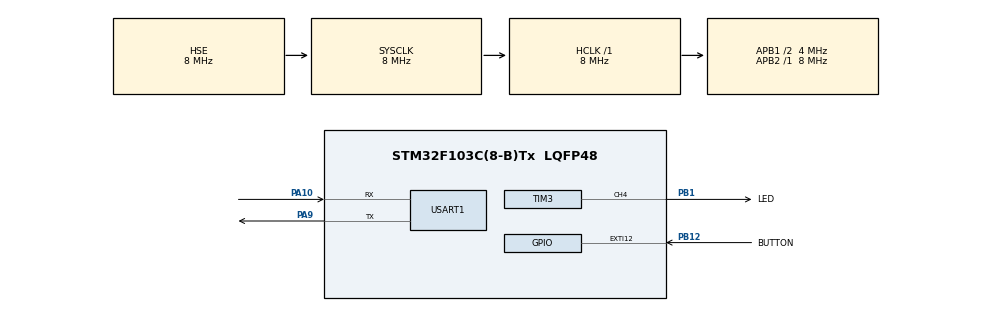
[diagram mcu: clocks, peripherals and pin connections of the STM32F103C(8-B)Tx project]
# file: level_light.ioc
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Mcu.Family=STM32F1
Mcu.Name=STM32F103C(8-B)Tx
Mcu.Package=LQFP48
NVIC.EXTI15_10_IRQn=true\:0\:0\:false\:false\:true\:true\:true\:true
NVIC.PriorityGroup=NVIC_PRIORITYGROUP_4
NVIC.RCC_IRQn=true\:0\:0\:false\:false\:true\:true\:false\:true
NVIC.TIM3_IRQn=true\:0\:0\:false\:false\:true\:true\:true\:true
NVIC.USART1_IRQn=true\:0\:0\:false\:false\:true\:true\:true\:true
PA0-WKUP.Mode=SYS_WakeUp0
PA0-WKUP.Signal=SYS_WKUP
PA10.Mode=Asynchronous
PA10.Signal=USART1_RX
PA13.Mode=Serial_Wire
PA13.Signal=SYS_JTMS-SWDIO
PA14.Mode=Serial_Wire
PA14.Signal=SYS_JTCK-SWCLK
PA9.Mode=Asynchronous
PA9.Signal=USART1_TX
PB1.GPIO_Label=LED
PB1.Signal=S_TIM3_CH4
PB12.GPIO_Label=BUTTON
PB12.GPIO_ModeDefaultEXTI=GPIO_MODE_IT_RISING
PB12.GPIO_PuPd=GPIO_PULLUP
PB12.Signal=GPXTI12
PD0-OSC_IN.Mode=HSE-External-Oscillator
PD0-OSC_IN.Signal=RCC_OSC_IN
PD1-OSC_OUT.Mode=HSE-External-Oscillator
PD1-OSC_OUT.Signal=RCC_OSC_OUT
ProjectManager.HeapSize=0x200
ProjectManager.StackSize=0x400
ProjectManager.TargetToolchain=STM32CubeIDE
RCC.AHBFreq_Value=8000000
RCC.APB1CLKDivider=RCC_HCLK_DIV2
RCC.APB1Freq_Value=4000000
RCC.APB1TimFreq_Value=8000000
RCC.APB2Freq_Value=8000000
RCC.APB2TimFreq_Value=8000000
RCC.HCLKFreq_Value=8000000
RCC.PLLSourceVirtual=RCC_PLLSOURCE_HSE
RCC.SYSCLKFreq_VALUE=8000000
RCC.SYSCLKSource=RCC_SYSCLKSOURCE_HSE
RCC.USBFreq_Value=16000000
SH.S_TIM3_CH4.0=TIM3_CH4,PWM Generation4 CH4
TIM3.Channel-PWM\ Generation4\ CH4=TIM_CHANNEL_4
TIM3.OCPolarity_4=TIM_OCPOLARITY_LOW
TIM3.Period=255
TIM3.Prescaler=8
TIM3.Pulse-PWM\ Generation4\ CH4=128
TIM3.TIM_MasterOutputTrigger=TIM_TRGO_UPDATE
USART1.VirtualMode=VM_ASYNC
board=custom

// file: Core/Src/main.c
/* USER CODE BEGIN Header */
/**
  ******************************************************************************
  * @file           : main.c
  * @brief          : Main program body
  ******************************************************************************
  * @attention
  *
  * Copyright (c) 2023 STMicroelectronics.
  * All rights reserved.
  *
  * This software is licensed under terms that can be found in the LICENSE file
  * in the root directory of this software component.
  * If no LICENSE file comes with this software, it is provided AS-IS.
  *
  ******************************************************************************
  */
/* USER CODE END Header */
#include "main.h"
#include "stdio.h"
/* USER CODE BEGIN Includes */

UART_HandleTypeDef huart1;
#ifdef __GNUC__
#define PUTCHAR_PROTOTYPE int __io_putchar(int ch)
#else
#define PUTCHAR_PROTOTYPE int fputc(int ch, FILE *f)
#endif

PUTCHAR_PROTOTYPE
{
  HAL_UART_Transmit(&huart1, (uint8_t *)&ch, 1, HAL_MAX_DELAY);
  return ch;
}

#define MAX_BRIGHTNESS_VAL (int8_t) 100
#define NUMBER_OF_MODES (int8_t) 4    //Enter value of brightness steps
#define STEP (int8_t) (MAX_BRIGHTNESS_VAL/NUMBER_OF_MODES)

/* USER CODE END Includes */

TIM_HandleTypeDef htim3;

UART_HandleTypeDef huart1;

void SystemClock_Config(void);
static void MX_GPIO_Init(void);
static void MX_TIM3_Init(void);
static void MX_USART1_UART_Init(void);
void  CH_LIGHT(uint16_t percent);

  /* USER CODE BEGIN 1 */
uint16_t TICK_COUNTER_DELAY=0;
uint16_t TICK_COUNTER_OFF=0;
void SysTick_Handler(void){

	if(TICK_COUNTER_DELAY>0){
		TICK_COUNTER_DELAY--;
	}
	else if(TICK_COUNTER_OFF>0){
		TICK_COUNTER_OFF--;
		}

}
void TIME_DELAY(uint16_t Time_value){

	TICK_COUNTER_DELAY=Time_value;
	while(TICK_COUNTER_DELAY){}

}

int main(void)
{

  /* USER CODE END 1 */

  /* MCU Configuration--------------------------------------------------------*/
HAL_IncTick();
  /* Reset of all peripherals, Initializes the Flash interface and the Systick. */
  HAL_Init();
SysTick_Config(SystemCoreClock/1000);

  /* Configure the system clock */
  SystemClock_Config();

  /* Initialize all configured peripherals */
  MX_GPIO_Init();
  MX_TIM3_Init();
  MX_USART1_UART_Init();

  /* Infinite loop */
  /* USER CODE BEGIN WHILE */

uint8_t LEVEL_BRIGHTNESS=0;

CH_LIGHT( LEVEL_BRIGHTNESS);
while (1)
  {

while(HAL_GPIO_ReadPin(BUTTON_GPIO_Port, BUTTON_Pin)==1){
	 if((TICK_COUNTER_OFF==0)&&( LEVEL_BRIGHTNESS!=0)){

		 LEVEL_BRIGHTNESS=0;

		 CH_LIGHT( LEVEL_BRIGHTNESS);
		 printf("Time has run out\n");
}
}

TIME_DELAY(300);

		printf("The button has been pressed\n");
		TICK_COUNTER_OFF=10000;

		 LEVEL_BRIGHTNESS+=STEP;

		if ( LEVEL_BRIGHTNESS>(MAX_BRIGHTNESS_VAL)){
			 LEVEL_BRIGHTNESS=0;

	}
CH_LIGHT( LEVEL_BRIGHTNESS);

  }

}

    /* USER CODE END WHILE */

void SystemClock_Config(void)
{
  RCC_OscInitTypeDef RCC_OscInitStruct = {0};
  RCC_ClkInitTypeDef RCC_ClkInitStruct = {0};

  /** Initializes the RCC Oscillators according to the specified parameters
  * in the RCC_OscInitTypeDef structure.
  */
  RCC_OscInitStruct.OscillatorType = RCC_OSCILLATORTYPE_HSE;
  RCC_OscInitStruct.HSEState = RCC_HSE_ON;
  RCC_OscInitStruct.PLL.PLLState = RCC_PLL_NONE;
  if (HAL_RCC_OscConfig(&RCC_OscInitStruct) != HAL_OK)
  {
    Error_Handler();
  }
  /** Initializes the CPU, AHB and APB buses clocks
  */
  RCC_ClkInitStruct.ClockType = RCC_CLOCKTYPE_HCLK|RCC_CLOCKTYPE_SYSCLK
                              |RCC_CLOCKTYPE_PCLK1|RCC_CLOCKTYPE_PCLK2;
  RCC_ClkInitStruct.SYSCLKSource = RCC_SYSCLKSOURCE_HSE;
  RCC_ClkInitStruct.AHBCLKDivider = RCC_SYSCLK_DIV1;
  RCC_ClkInitStruct.APB1CLKDivider = RCC_HCLK_DIV2;
  RCC_ClkInitStruct.APB2CLKDivider = RCC_HCLK_DIV1;

  if (HAL_RCC_ClockConfig(&RCC_ClkInitStruct, FLASH_LATENCY_0) != HAL_OK)
  {
    Error_Handler();
  }
}

static void MX_TIM3_Init(void)
{

  TIM_MasterConfigTypeDef sMasterConfig = {0};
 // TIM_OC_InitTypeDef sConfigOC = {0};

  htim3.Instance = TIM3;
  htim3.Init.Prescaler = 8;
  htim3.Init.CounterMode = TIM_COUNTERMODE_UP;
  htim3.Init.Period = 255;
  htim3.Init.ClockDivision = TIM_CLOCKDIVISION_DIV1;
  htim3.Init.AutoReloadPreload = TIM_AUTORELOAD_PRELOAD_DISABLE;
  if (HAL_TIM_PWM_Init(&htim3) != HAL_OK)
  {
    Error_Handler();
  }
  sMasterConfig.MasterOutputTrigger = TIM_TRGO_UPDATE;
  sMasterConfig.MasterSlaveMode = TIM_MASTERSLAVEMODE_DISABLE;
  if (HAL_TIMEx_MasterConfigSynchronization(&htim3, &sMasterConfig) != HAL_OK)
  {
    Error_Handler();
  }
/*  sConfigOC.OCMode = TIM_OCMODE_PWM1;
  sConfigOC.Pulse = 128;
  sConfigOC.OCPolarity = TIM_OCPOLARITY_LOW;
  sConfigOC.OCFastMode = TIM_OCFAST_DISABLE;
  if (HAL_TIM_PWM_ConfigChannel(&htim3, &sConfigOC, TIM_CHANNEL_4) != HAL_OK)
  {
    Error_Handler();
  }*/
  HAL_TIM_MspPostInit(&htim3);

}

static void MX_USART1_UART_Init(void)
{

  huart1.Instance = USART1;
  huart1.Init.BaudRate = 115200;
  huart1.Init.WordLength = UART_WORDLENGTH_8B;
  huart1.Init.StopBits = UART_STOPBITS_1;
  huart1.Init.Parity = UART_PARITY_NONE;
  huart1.Init.Mode = UART_MODE_TX_RX;
  huart1.Init.HwFlowCtl = UART_HWCONTROL_NONE;
  huart1.Init.OverSampling = UART_OVERSAMPLING_16;
  if (HAL_UART_Init(&huart1) != HAL_OK)
  {
    Error_Handler();
  }

}

static void MX_GPIO_Init(void)
{
  GPIO_InitTypeDef GPIO_InitStruct = {0};

  /* GPIO Ports Clock Enable */
  __HAL_RCC_GPIOD_CLK_ENABLE();
  __HAL_RCC_GPIOA_CLK_ENABLE();
  __HAL_RCC_GPIOB_CLK_ENABLE();

  /*Configure GPIO pin : BUTTON_Pin */
  GPIO_InitStruct.Pin = BUTTON_Pin;
  GPIO_InitStruct.Mode = GPIO_MODE_IT_RISING;
  GPIO_InitStruct.Pull = GPIO_PULLUP;
  HAL_GPIO_Init(BUTTON_GPIO_Port, &GPIO_InitStruct);

  /* EXTI interrupt init*/
  HAL_NVIC_SetPriority(EXTI15_10_IRQn, 0, 0);
  HAL_NVIC_EnableIRQ(EXTI15_10_IRQn);

}

/* USER CODE BEGIN 4 */
void  CH_LIGHT(uint16_t percent){

	 TIM_OC_InitTypeDef sConfigOC;
 HAL_TIM_PWM_Stop(&htim3,TIM_CHANNEL_4);

	  sConfigOC.OCMode = TIM_OCMODE_PWM1;
	    sConfigOC.Pulse = (128*percent)/MAX_BRIGHTNESS_VAL;
	    sConfigOC.OCPolarity = TIM_OCPOLARITY_LOW;
	    sConfigOC.OCFastMode = TIM_OCFAST_DISABLE;
	    HAL_TIM_PWM_ConfigChannel(&htim3, &sConfigOC, TIM_CHANNEL_4);
	     HAL_TIM_PWM_Start(&htim3,TIM_CHANNEL_4);

	      if(percent==0) {
	    	 printf("LED  OFF.\n");
	     }
	     else {
	    	 printf("LED  ON.\n");

  printf(" Brightness percentage= %i %s ",percent ,"%. \n");
	     }
}
/* USER CODE END 4 */

void Error_Handler(void)
{
  __disable_irq();
  while (1)
  {
  }
}
